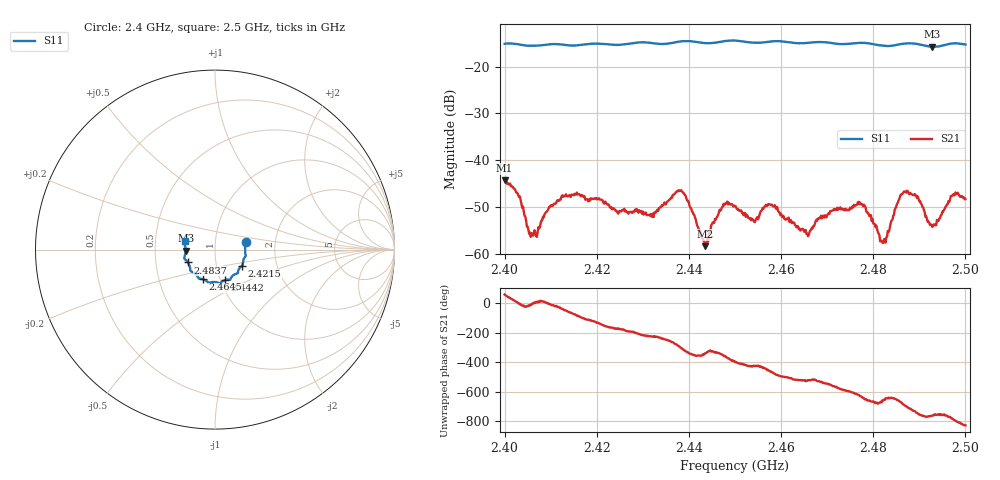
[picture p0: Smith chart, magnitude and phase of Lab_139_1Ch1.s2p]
# Hz S RI R
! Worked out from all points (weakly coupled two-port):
!   601 points, 2.4 GHz to 2.5 GHz, reference 50 ohm
!   highest |S21| = -44.29 dB at 2.4 GHz (marker M1); lowest = -58.4 dB at 2.4435 GHz (marker M2)
!   lowest |S11| = -15.7 dB at 2.4928 GHz (marker M3), VSWR 1.39, Z = 35.9 - j0.386 ohm
!   |S11| at or under -10 dB: start of sweep to end of sweep
!   S12 and S22 are empty: the file has one direction only
!   S11 on the Smith chart (normalised r, x): 2.4 GHz: 1.41, +0.12; 2.4215 GHz: 1.33, -0.25; 2.4442 GHz: 1.05, -0.37; 2.4645 GHz: 0.83, -0.29; 2.4837 GHz: 0.73, -0.11; 2.5 GHz: 0.71, +0.07
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2.4e9  0.1714 0.0403  0.00299 0.00532  0 0  0 0
2.405833e9  0.1675 0.000428  0.00166 -9.31e-05  0 0  0 0
2.416667e9  0.1567 -0.0697  -0.000377 -0.00419  0 0  0 0
2.4215e9  0.1512 -0.0896  -0.00296 -0.00179  0 0  0 0
2.433333e9  0.1084 -0.1383  -0.00181 0.00221  0 0  0 0
2.4385e9  0.0856 -0.1667  0.00285 0.00366  0 0  0 0
2.4435e9  0.0626 -0.1678  0.00113 0.000407  0 0  0 0
2.444167e9  0.0566 -0.1694  0.00115 0.000701  0 0  0 0
2.447667e9  0.0318 -0.1851  0.00329 3.3e-05  0 0  0 0
2.45e9  0.0252 -0.189  0.00249 -0.00205  0 0  0 0
2.454e9  0.00153 -0.1807  0.00098 -0.00203  0 0  0 0
2.458167e9  -0.0293 -0.1848  -0.00113 -0.00302  0 0  0 0
2.4645e9  -0.0658 -0.1659  -0.00177 -0.000452  0 0  0 0
2.466667e9  -0.0827 -0.1621  -0.00176 -0.000686  0 0  0 0
2.477167e9  -0.1357 -0.1191  8.48e-05 0.00351  0 0  0 0
2.481833e9  -0.1415 -0.0913  0.000933 0.000977  0 0  0 0
2.483333e9  -0.1488 -0.0748  0.000323 0.00167  0 0  0 0
2.483667e9  -0.151 -0.0716  0.000529 0.00192  0 0  0 0
2.487e9  -0.1701 -0.0507  0.00428 0.00169  0 0  0 0
2.492833e9  -0.1635 -0.00522  0.00138 -0.00135  0 0  0 0
2.497333e9  -0.1738 0.0372  0.00157 -0.00401  0 0  0 0
2.5e9  -0.1652 0.0506  -0.00136 -0.0036  0 0  0 0
